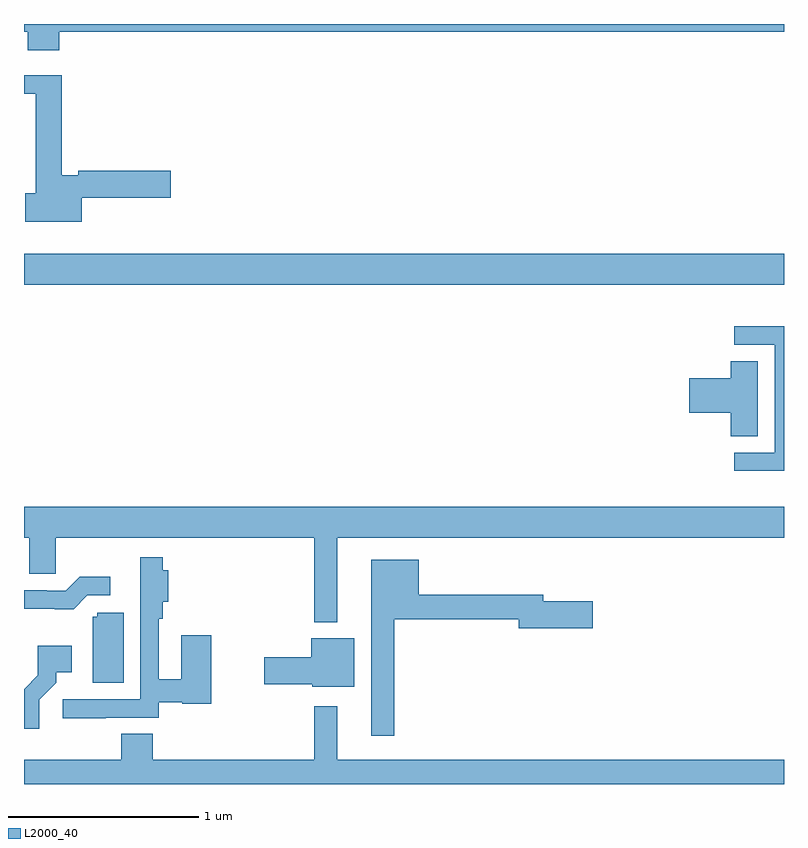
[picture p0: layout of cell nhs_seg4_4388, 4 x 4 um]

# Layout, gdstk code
import gdstk
lib = gdstk.Library(unit=1e-6, precision=1e-09)
def R(c, l, rs):  # rectangles x0, y0, x1, y1
    for r in rs: c.add(gdstk.rectangle(r[:2], r[2:], *l))
def P(c, l, *ps):  # polygons
    for p in ps: c.add(gdstk.Polygon(p, *l))
L2000_40 = (2000, 40)

nhs_seg4_4388 = lib.new_cell('nhs_seg4_4388')
R(nhs_seg4_4388, L2000_40, [(347,755.528,351,755.692)])
P(nhs_seg4_4388, L2000_40, [(347.186,756.86),(351,756.86),(351,756.9),(347,756.9),(347,756.86),(347.021,756.86),(347.021,756.761),(347.186,756.761)],
  [(347.305,755.986),(347.773,755.986),(347.773,756.128),(347.285,756.128),(347.285,756.103),(347.198,756.103),(347.198,756.631),(347,756.631),(347,756.532),(347.063,756.532),(347.063,756.008),(347.007,756.008),(347.007,755.858),(347.305,755.858)],
  [(351,755.31),(350.739,755.31),(350.739,755.211),(350.952,755.211),(350.952,754.644),(350.739,754.644),(350.739,754.548),(351,754.548)],
  [(350.863,755.126),(350.72,755.126),(350.72,755.036),(350.502,755.036),(350.502,754.853),(350.72,754.853),(350.72,754.729),(350.863,754.729)],
  [(348.649,754.196),(351,754.196),(351,754.36),(347,754.36),(347,754.196),(347.027,754.196),(347.027,754.006),(347.166,754.006),(347.166,754.196),(348.528,754.196),(348.528,753.752),(348.649,753.752)],
  [(347.429,753.249),(347.709,753.249),(347.709,753.33),(347.832,753.33),(347.832,753.322),(347.986,753.322),(347.986,753.682),(347.828,753.682),(347.828,753.451),(347.709,753.451),(347.709,753.77),(347.729,753.77),(347.729,753.859),(347.759,753.859),(347.759,754.024),(347.729,754.024),(347.729,754.093),(347.612,754.093),(347.612,753.87),(347.613,753.87),(347.613,753.345),(347.205,753.345),(347.205,753.247),(347.429,753.247)],
  [(348.949,753.766),(349.604,753.766),(349.604,753.719),(349.993,753.719),(349.993,753.861),(349.732,753.861),(349.732,753.895),(349.078,753.895),(349.078,754.081),(348.827,754.081),(348.827,753.153),(348.949,753.153)],
  [(347.334,753.894),(347.455,753.894),(347.455,753.991),(347.293,753.991),(347.22,753.918),(347.12,753.918),(347.12,753.921),(347,753.921),(347,753.822),(347.162,753.822),(347.162,753.821),(347.261,753.821)],
  [(347.524,753.801),(347.385,753.801),(347.385,753.78),(347.363,753.78),(347.363,753.432),(347.524,753.432)],
  [(348.739,753.667),(348.512,753.667),(348.512,753.566),(348.264,753.566),(348.264,753.424),(348.516,753.424),(348.516,753.413),(348.739,753.413)],
  [(347.08,753.343),(347.17,753.433),(347.17,753.488),(347.251,753.488),(347.251,753.628),(347.073,753.628),(347.073,753.473),(347,753.4),(347,753.192),(347.08,753.192)],
  [(351,753.028),(348.649,753.028),(348.649,753.31),(348.528,753.31),(348.528,753.028),(347.678,753.028),(347.678,753.164),(347.513,753.164),(347.513,753.028),(347,753.028),(347,752.9),(351,752.9)])

lib.write_gds('nhs_seg4_4388.gds')
